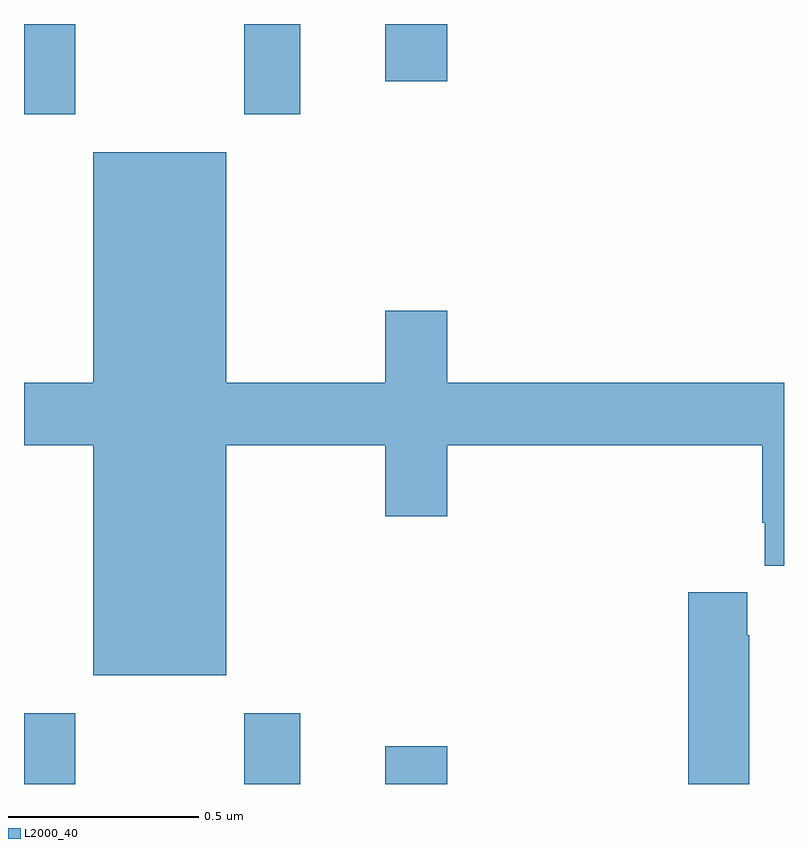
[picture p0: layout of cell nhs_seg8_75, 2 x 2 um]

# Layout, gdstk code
import gdstk
lib = gdstk.Library(unit=1e-6, precision=1e-09)
def R(c, l, rs):  # rectangles x0, y0, x1, y1
    for r in rs: c.add(gdstk.rectangle(r[:2], r[2:], *l))
def P(c, l, *ps):  # polygons
    for p in ps: c.add(gdstk.Polygon(p, *l))
L2000_40 = (2000, 40)

nhs_seg8_75 = lib.new_cell('nhs_seg8_75')
R(nhs_seg8_75, L2000_40, [(111,1156.9,111.135,1157.086), (111.58,1156.9,111.727,1157.086), (111.95,1156.9,112.114,1156.999), (111,1158.663,111.135,1158.9), (111.58,1158.663,111.727,1158.9), (111.95,1158.75,112.114,1158.9)])
P(nhs_seg8_75, L2000_40, [(111.532,1157.792),(111.95,1157.792),(111.95,1157.604),(112.114,1157.604),(112.114,1157.792),(112.943,1157.792),(112.943,1157.587),(112.949,1157.587),(112.949,1157.475),(113,1157.475),(113,1157.956),(112.114,1157.956),(112.114,1158.145),(111.95,1158.145),(111.95,1157.956),(111.532,1157.956),(111.532,1158.562),(111.182,1158.562),(111.182,1157.956),(111,1157.956),(111,1157.792),(111.182,1157.792),(111.182,1157.186),(111.532,1157.186)],
  [(112.908,1157.291),(112.903,1157.291),(112.903,1157.404),(112.748,1157.404),(112.748,1156.9),(112.908,1156.9)])

lib.write_gds('nhs_seg8_75.gds')
